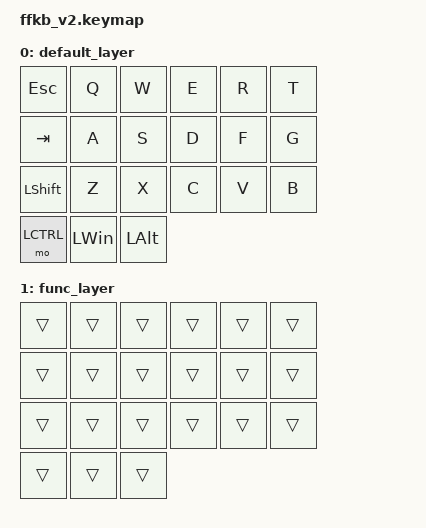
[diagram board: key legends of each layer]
/*
 * Copyright (c) 2020 The ZMK Contributors
 *
 * SPDX-License-Identifier: MIT
 */

 #include <behaviors.dtsi>
 #include <dt-bindings/zmk/keys.h>
 #include <dt-bindings/zmk/bt.h>
 #include <dt-bindings/zmk/ext_power.h>
 #include <dt-bindings/zmk/outputs.h>
 #include <dt-bindings/zmk/mouse.h>
 #include <behaviors/mouse_keys.dtsi>
 
 #define DEFAULT 0
 #define FUNC    1
 
 / {
     keymap {
         compatible = "zmk,keymap";
 
         default_layer {
             bindings = <
       &kp ESC    &kp Q   &kp W    &kp E    &kp R     &kp T 
       &kp TAB    &kp A   &kp S    &kp D    &kp F     &kp G 
       &kp LSHFT  &kp Z   &kp X    &kp C    &kp V     &kp B 
       &mo LCTRL  &kp LWIN &kp LALT                         
             >;
         };

         func_layer {
             bindings = <
       &trans    &trans   &trans &trans   &trans   &trans
       &trans    &trans   &trans &trans   &trans   &trans
       &trans    &trans   &trans &trans   &trans   &trans
       &trans    &trans   &trans 
             >;
         };
     };
 };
